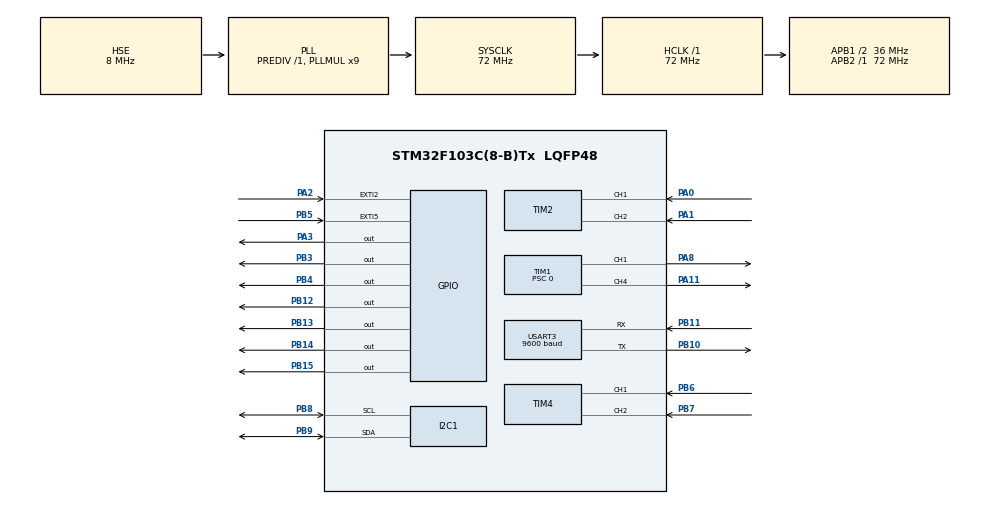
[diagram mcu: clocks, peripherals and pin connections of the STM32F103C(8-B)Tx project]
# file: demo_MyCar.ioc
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Dma.Request0=USART3_RX
Dma.Request1=USART3_TX
Dma.USART3_RX.0.Direction=DMA_PERIPH_TO_MEMORY
Dma.USART3_RX.0.Instance=DMA1_Channel3
Dma.USART3_RX.0.MemDataAlignment=DMA_MDATAALIGN_BYTE
Dma.USART3_RX.0.MemInc=DMA_MINC_ENABLE
Dma.USART3_RX.0.Mode=DMA_NORMAL
Dma.USART3_RX.0.PeriphDataAlignment=DMA_PDATAALIGN_BYTE
Dma.USART3_RX.0.PeriphInc=DMA_PINC_DISABLE
Dma.USART3_RX.0.Priority=DMA_PRIORITY_LOW
Dma.USART3_TX.1.Direction=DMA_MEMORY_TO_PERIPH
Dma.USART3_TX.1.Instance=DMA1_Channel2
Dma.USART3_TX.1.MemDataAlignment=DMA_MDATAALIGN_BYTE
Dma.USART3_TX.1.MemInc=DMA_MINC_ENABLE
Dma.USART3_TX.1.Mode=DMA_NORMAL
Dma.USART3_TX.1.PeriphDataAlignment=DMA_PDATAALIGN_BYTE
Dma.USART3_TX.1.PeriphInc=DMA_PINC_DISABLE
Dma.USART3_TX.1.Priority=DMA_PRIORITY_LOW
Mcu.Family=STM32F1
Mcu.Name=STM32F103C(8-B)Tx
Mcu.Package=LQFP48
NVIC.DMA1_Channel2_IRQn=true\:0\:0\:false\:false\:true\:false\:true\:true
NVIC.DMA1_Channel3_IRQn=true\:0\:0\:false\:false\:true\:false\:true\:true
NVIC.EXTI2_IRQn=true\:0\:0\:false\:false\:true\:true\:true\:true
NVIC.EXTI9_5_IRQn=true\:0\:0\:false\:false\:true\:true\:true\:true
NVIC.I2C1_ER_IRQn=true\:0\:0\:false\:false\:true\:true\:true\:true
NVIC.I2C1_EV_IRQn=true\:0\:0\:false\:false\:true\:true\:true\:true
NVIC.PriorityGroup=NVIC_PRIORITYGROUP_4
NVIC.USART3_IRQn=true\:0\:0\:false\:false\:true\:true\:true\:true
PA0-WKUP.Signal=S_TIM2_CH1_ETR
PA1.Signal=S_TIM2_CH2
PA11.Signal=S_TIM1_CH4
PA13.Mode=Serial_Wire
PA13.Signal=SYS_JTMS-SWDIO
PA14.Mode=Serial_Wire
PA14.Signal=SYS_JTCK-SWCLK
PA2.GPIO_ModeDefaultEXTI=GPIO_MODE_IT_RISING_FALLING
PA2.Signal=GPXTI2
PA3.GPIO_Speed=GPIO_SPEED_FREQ_HIGH
PA3.PinState=GPIO_PIN_RESET
PA3.Signal=GPIO_Output
PA8.Signal=S_TIM1_CH1
PB10.Mode=Asynchronous
PB10.Signal=USART3_TX
PB11.Mode=Asynchronous
PB11.Signal=USART3_RX
PB12.PinState=GPIO_PIN_RESET
PB12.Signal=GPIO_Output
PB13.PinState=GPIO_PIN_RESET
PB13.Signal=GPIO_Output
PB14.PinState=GPIO_PIN_RESET
PB14.Signal=GPIO_Output
PB15.PinState=GPIO_PIN_RESET
PB15.Signal=GPIO_Output
PB3.PinState=GPIO_PIN_RESET
PB3.Signal=GPIO_Output
PB4.PinState=GPIO_PIN_RESET
PB4.Signal=GPIO_Output
PB5.GPIO_ModeDefaultEXTI=GPIO_MODE_IT_FALLING
PB5.GPIO_PuPd=GPIO_PULLUP
PB5.Signal=GPXTI5
PB6.Signal=S_TIM4_CH1
PB7.Signal=S_TIM4_CH2
PB8.Mode=I2C
PB8.Signal=I2C1_SCL
PB9.Mode=I2C
PB9.Signal=I2C1_SDA
PC14-OSC32_IN.Mode=LSE-External-Oscillator
PC14-OSC32_IN.Signal=RCC_OSC32_IN
PC15-OSC32_OUT.Mode=LSE-External-Oscillator
PC15-OSC32_OUT.Signal=RCC_OSC32_OUT
PD0-OSC_IN.Mode=HSE-External-Oscillator
PD0-OSC_IN.Signal=RCC_OSC_IN
PD1-OSC_OUT.Mode=HSE-External-Oscillator
PD1-OSC_OUT.Signal=RCC_OSC_OUT
ProjectManager.HeapSize=0x200
ProjectManager.StackSize=0x400
ProjectManager.TargetToolchain=MDK-ARM V5.32
RCC.AHBFreq_Value=72000000
RCC.APB1CLKDivider=RCC_HCLK_DIV2
RCC.APB1Freq_Value=36000000
RCC.APB1TimFreq_Value=72000000
RCC.APB2Freq_Value=72000000
RCC.APB2TimFreq_Value=72000000
RCC.HCLKFreq_Value=72000000
RCC.PLLMUL=RCC_PLL_MUL9
RCC.PLLSourceVirtual=RCC_PLLSOURCE_HSE
RCC.SYSCLKFreq_VALUE=72000000
RCC.SYSCLKSource=RCC_SYSCLKSOURCE_PLLCLK
RCC.USBFreq_Value=72000000
SH.S_TIM1_CH1.0=TIM1_CH1,PWM Generation1 CH1
SH.S_TIM1_CH4.0=TIM1_CH4,PWM Generation4 CH4
SH.S_TIM2_CH1_ETR.0=TIM2_CH1,Encoder_Interface
SH.S_TIM2_CH2.0=TIM2_CH2,Encoder_Interface
SH.S_TIM4_CH1.0=TIM4_CH1,Encoder_Interface
SH.S_TIM4_CH2.0=TIM4_CH2,Encoder_Interface
TIM1.Channel-PWM\ Generation1\ CH1=TIM_CHANNEL_1
TIM1.Channel-PWM\ Generation4\ CH4=TIM_CHANNEL_4
TIM1.Period=7200-1
TIM1.Prescaler=0
TIM2.EncoderMode=TIM_ENCODERMODE_TI12
TIM3.Prescaler=72-1
TIM4.EncoderMode=TIM_ENCODERMODE_TI12
USART3.BaudRate=9600
USART3.VirtualMode=VM_ASYNC
VP_TIM3_VS_ClockSourceINT.Mode=Internal
board=custom

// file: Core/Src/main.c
/* USER CODE BEGIN Header */
/**
  ******************************************************************************
  * @file           : main.c
  * @brief          : Main program body
  ******************************************************************************
  * @attention
  *
  * Copyright (c) 2025 STMicroelectronics.
  * All rights reserved.
  *
  * This software is licensed under terms that can be found in the LICENSE file
  * in the root directory of this software component.
  * If no LICENSE file comes with this software, it is provided AS-IS.
  *
  ******************************************************************************
  */
/* USER CODE END Header */
#include "main.h"
#include "dma.h"
#include "i2c.h"
#include "tim.h"
#include "usart.h"
#include "gpio.h"

/* USER CODE BEGIN Includes */
#include "OLED.h"
#include "sr04.h"
#include "pid.h"
#include "IIC.h"
#include "inv_mpu.h"
#include "inv_mpu_dmp_motion_driver.h"
#include "mpu6050.h"

/* USER CODE END Includes */

/* USER CODE BEGIN PV */
extern float SR04_Distance;
extern int Encoder_Left;
extern int Encoder_Right;
uint8_t rx_buf[2];
/* USER CODE END PV */

void SystemClock_Config(void);

int main(void)
{

  /* MCU Configuration--------------------------------------------------------*/

  /* Reset of all peripherals, Initializes the Flash interface and the Systick. */
  HAL_Init();

  /* Configure the system clock */
  SystemClock_Config();

  /* Initialize all configured peripherals */
  MX_GPIO_Init();
  MX_DMA_Init();
  MX_I2C1_Init();
  MX_TIM1_Init();
  MX_TIM2_Init();
  MX_TIM4_Init();
  MX_USART3_UART_Init();
  MX_TIM3_Init();
  /* USER CODE BEGIN 2 */
	OLED_Init();
	MPU_Init();
	mpu_dmp_init();
	OLED_ShowString(0,0,"mpu Init sucess",OLED_8X16);
  HAL_NVIC_SetPriority(EXTI9_5_IRQn, 0, 0);
  HAL_NVIC_EnableIRQ(EXTI9_5_IRQn);
  HAL_TIM_PWM_Start(&htim1,TIM_CHANNEL_1);
  HAL_TIM_PWM_Start(&htim1,TIM_CHANNEL_4);
  HAL_TIM_Encoder_Start(&htim2,TIM_CHANNEL_ALL);
  HAL_TIM_Encoder_Start(&htim4,TIM_CHANNEL_ALL);
  HAL_UART_Receive_DMA(&huart3,rx_buf,1);
  HAL_UART_Transmit_DMA(&huart3,rx_buf,1);
	OLED_Clear();
  //Load(1000,3000);
  /* USER CODE END 2 */

  /* Infinite loop */
  /* USER CODE BEGIN WHILE */
  while (1)
  {
		Get_Distance();
		OLED_ShowFloatNum(0,0,SR04_Distance,3,3,OLED_8X16);
    /* USER CODE END WHILE */

    /* USER CODE BEGIN 3 */
		OLED_ShowSignedNum(0,20,Encoder_Left,4,OLED_8X16);
		OLED_ShowSignedNum(0,40,Encoder_Right,4,OLED_8X16);
		OLED_Update();
  }
  /* USER CODE END 3 */
}

void SystemClock_Config(void)
{
  RCC_OscInitTypeDef RCC_OscInitStruct = {0};
  RCC_ClkInitTypeDef RCC_ClkInitStruct = {0};

  /** Initializes the RCC Oscillators according to the specified parameters
  * in the RCC_OscInitTypeDef structure.
  */
  RCC_OscInitStruct.OscillatorType = RCC_OSCILLATORTYPE_HSE;
  RCC_OscInitStruct.HSEState = RCC_HSE_ON;
  RCC_OscInitStruct.HSEPredivValue = RCC_HSE_PREDIV_DIV1;
  RCC_OscInitStruct.HSIState = RCC_HSI_ON;
  RCC_OscInitStruct.PLL.PLLState = RCC_PLL_ON;
  RCC_OscInitStruct.PLL.PLLSource = RCC_PLLSOURCE_HSE;
  RCC_OscInitStruct.PLL.PLLMUL = RCC_PLL_MUL9;
  if (HAL_RCC_OscConfig(&RCC_OscInitStruct) != HAL_OK)
  {
    Error_Handler();
  }

  /** Initializes the CPU, AHB and APB buses clocks
  */
  RCC_ClkInitStruct.ClockType = RCC_CLOCKTYPE_HCLK|RCC_CLOCKTYPE_SYSCLK
                              |RCC_CLOCKTYPE_PCLK1|RCC_CLOCKTYPE_PCLK2;
  RCC_ClkInitStruct.SYSCLKSource = RCC_SYSCLKSOURCE_PLLCLK;
  RCC_ClkInitStruct.AHBCLKDivider = RCC_SYSCLK_DIV1;
  RCC_ClkInitStruct.APB1CLKDivider = RCC_HCLK_DIV2;
  RCC_ClkInitStruct.APB2CLKDivider = RCC_HCLK_DIV1;

  if (HAL_RCC_ClockConfig(&RCC_ClkInitStruct, FLASH_LATENCY_2) != HAL_OK)
  {
    Error_Handler();
  }
}

void Error_Handler(void)
{
  __disable_irq();
  while (1)
  {
  }
}
